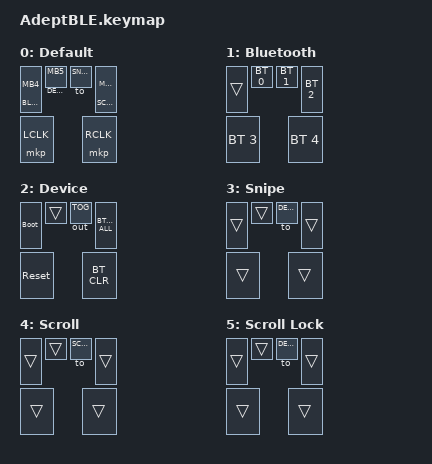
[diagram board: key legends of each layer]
#include <behaviors.dtsi>
#include <dt-bindings/zmk/bt.h>
#include <dt-bindings/zmk/keys.h>
#include <dt-bindings/zmk/pointing.h>
#include <dt-bindings/zmk/outputs.h>
// #include <dt-bindings/zmk/mouse.h>

// layers
#define DEFAULT 0
#define BLTH 1
#define DEVICE 2
#define SNIPE 3
#define SCRLM 4
#define SCRLH 5

/ {
  behaviors {
    ltm: layer-tap-momentary {
      compatible = "zmk,behavior-hold-tap";
      #binding-cells = <2>;
      flavor = "tap-preferred";
      tapping-term-ms = <200>;
      bindings = <&mo>, <&mkp>;
    };
    lth: layer-tap-hold-while-undecided {
      compatible = "zmk,behavior-hold-tap";
      #binding-cells = <2>;
      flavor = "hold-preferred";
      hold-while-undecided;
      tapping-term-ms = <150>;
      bindings = <&mo>, <&mkp>;
    };
  };
  keymap {
    compatible = "zmk,keymap";
    default_layer {
      display-name = "Default";
      bindings = <
        &ltm BLTH MB4 &ltm DEVICE MB5 &to SNIPE &lth SCRLM MCLK
        &mkp LCLK                                    &mkp RCLK
      >;
    };
    bluetooth_layer {
      display-name = "Bluetooth";
      bindings = <
        &trans &bt BT_SEL 0 &bt BT_SEL 1 &bt BT_SEL 2
        &bt BT_SEL 3                     &bt BT_SEL 4
      >;
    };
    device_layer {
      display-name = "Device";
      bindings = <
        &bootloader &trans &out OUT_TOG &bt BT_CLR_ALL
        &sys_reset                      &bt BT_CLR
      >;
    };
    snipe_layer {
      display-name = "Snipe";
      bindings = <
        &trans &trans &to DEFAULT &trans
        &trans                    &trans
      >;
    };
    scroll_tap_layer {
      display-name = "Scroll";
      bindings = <
        &trans &trans &to SCRLH &trans
        &trans                  &trans
      >;
    };
    scroll_hold_layer {
      display-name = "Scroll Lock";
      bindings = <
        &trans &trans &to DEFAULT &trans
        &trans                    &trans
      >;
    };
  };
};
